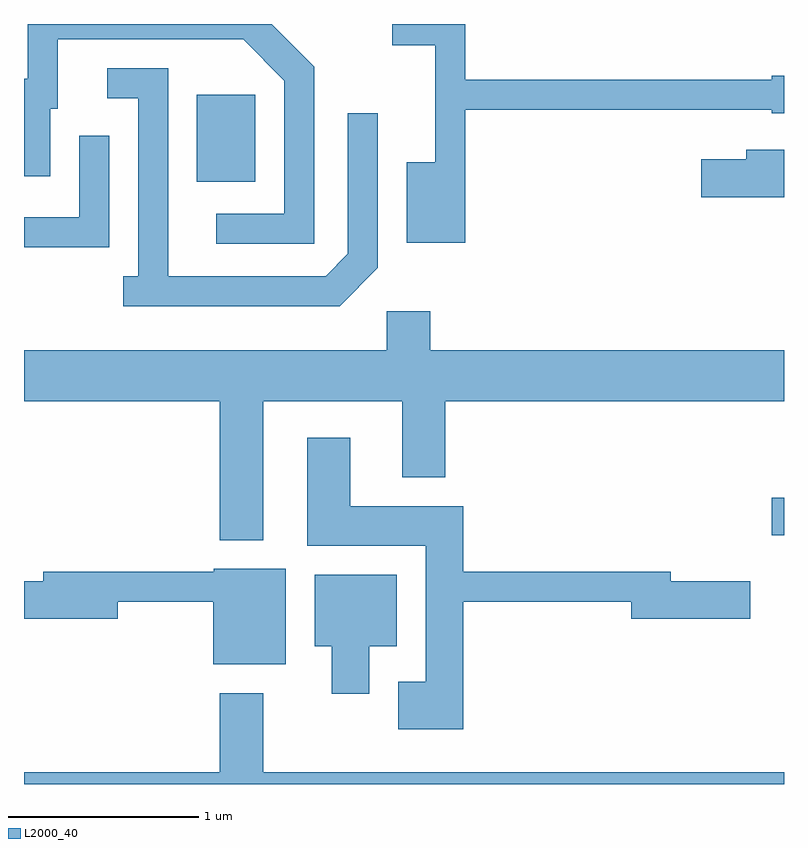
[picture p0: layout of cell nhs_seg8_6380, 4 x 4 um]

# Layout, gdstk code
import gdstk
lib = gdstk.Library(unit=1e-6, precision=1e-09)
def R(c, l, rs):  # rectangles x0, y0, x1, y1
    for r in rs: c.add(gdstk.rectangle(r[:2], r[2:], *l))
def P(c, l, *ps):  # polygons
    for p in ps: c.add(gdstk.Polygon(p, *l))
L2000_40 = (2000, 40)

nhs_seg8_6380 = lib.new_cell('nhs_seg8_6380')
R(nhs_seg8_6380, L2000_40, [(379.546,1895.651,379.611,1895.849), (376.521,1897.511,376.829,1897.969)])
P(nhs_seg8_6380, L2000_40, [(377.934,1897.891),(379.546,1897.891),(379.546,1897.871),(379.611,1897.871),(379.611,1898.069),(379.546,1898.069),(379.546,1898.049),(377.934,1898.049),(377.934,1898.342),(377.548,1898.342),(377.548,1898.231),(377.776,1898.231),(377.776,1897.614),(377.626,1897.614),(377.626,1897.191),(377.934,1897.191)],
  [(377.139,1898.117),(376.914,1898.342),(375.631,1898.342),(375.631,1898.054),(375.611,1898.054),(375.611,1897.541),(375.749,1897.541),(375.749,1897.896),(375.789,1897.896),(375.789,1898.261),(376.764,1898.261),(376.981,1898.044),(376.981,1897.344),(376.623,1897.344),(376.623,1897.186),(377.139,1897.186)],
  [(377.474,1897.059),(377.474,1897.873),(377.316,1897.873),(377.316,1897.132),(377.199,1897.014),(376.369,1897.014),(376.369,1898.109),(376.048,1898.109),(376.048,1897.951),(376.211,1897.951),(376.211,1897.014),(376.133,1897.014),(376.133,1896.856),(377.272,1896.856)],
  [(376.059,1897.753),(375.901,1897.753),(375.901,1897.324),(375.611,1897.324),(375.611,1897.166),(376.059,1897.166)],
  [(379.611,1897.679),(379.411,1897.679),(379.411,1897.629),(379.176,1897.629),(379.176,1897.431),(379.611,1897.431)],
  [(376.869,1896.356),(377.601,1896.356),(377.601,1895.956),(377.829,1895.956),(377.829,1896.356),(379.611,1896.356),(379.611,1896.624),(377.749,1896.624),(377.749,1896.829),(377.521,1896.829),(377.521,1896.624),(375.611,1896.624),(375.611,1896.356),(376.641,1896.356),(376.641,1895.626),(376.869,1895.626)],
  [(377.924,1895.301),(378.806,1895.301),(378.806,1895.211),(379.434,1895.211),(379.434,1895.409),(379.014,1895.409),(379.014,1895.459),(377.924,1895.459),(377.924,1895.804),(377.329,1895.804),(377.329,1896.164),(377.101,1896.164),(377.101,1895.596),(377.726,1895.596),(377.726,1894.879),(377.581,1894.879),(377.581,1894.631),(377.924,1894.631)],
  [(376.989,1895.474),(376.61,1895.474),(376.61,1895.459),(375.711,1895.459),(375.711,1895.409),(375.611,1895.409),(375.611,1895.211),(376.104,1895.211),(376.104,1895.301),(376.606,1895.301),(376.606,1894.971),(376.989,1894.971)],
  [(377.429,1895.066),(377.574,1895.066),(377.574,1895.444),(377.141,1895.444),(377.141,1895.066),(377.231,1895.066),(377.231,1894.816),(377.429,1894.816)],
  [(379.611,1894.404),(376.869,1894.404),(376.869,1894.819),(376.641,1894.819),(376.641,1894.404),(375.611,1894.404),(375.611,1894.342),(379.611,1894.342)])

lib.write_gds('nhs_seg8_6380.gds')
